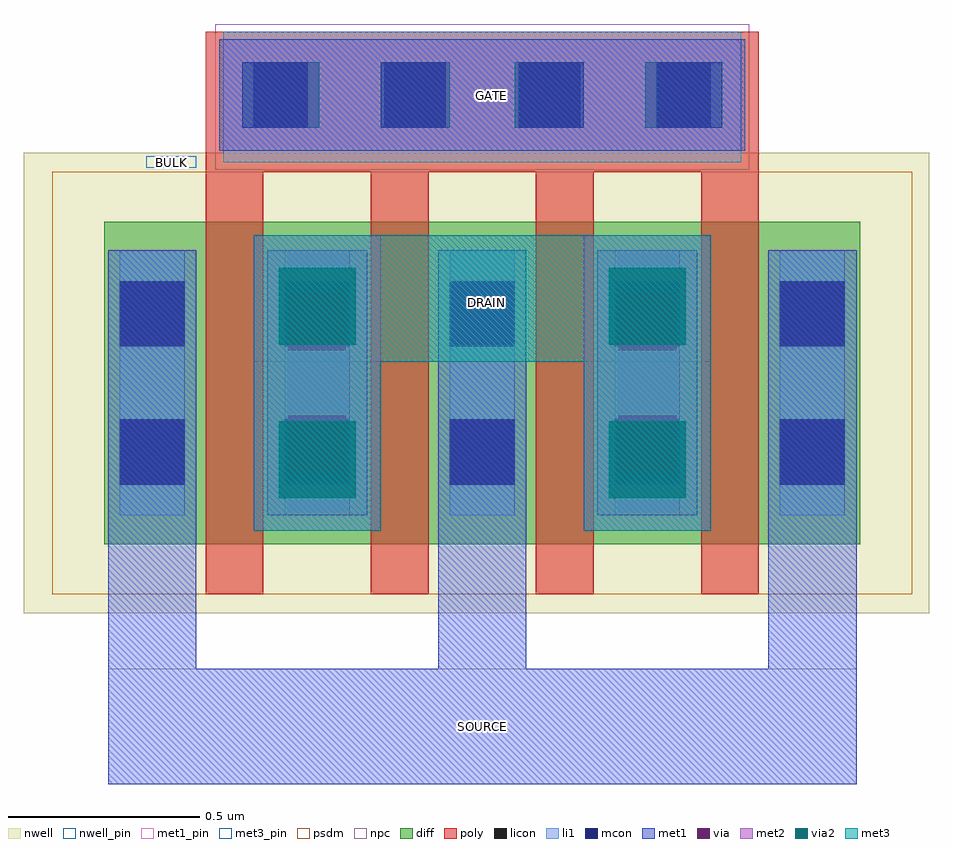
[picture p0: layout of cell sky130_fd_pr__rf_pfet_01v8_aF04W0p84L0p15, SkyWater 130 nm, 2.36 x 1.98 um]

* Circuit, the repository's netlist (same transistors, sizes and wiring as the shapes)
* Copyright 2020 The SkyWater PDK Authors
*
* Licensed under the Apache License, Version 2.0 (the "License");
* you may not use this file except in compliance with the License.
* You may obtain a copy of the License at
*
*     https://www.apache.org/licenses/LICENSE-2.0
*
* Unless required by applicable law or agreed to in writing, software
* distributed under the License is distributed on an "AS IS" BASIS,
* WITHOUT WARRANTIES OR CONDITIONS OF ANY KIND, either express or implied.
* See the License for the specific language governing permissions and
* limitations under the License.
*
* SPDX-License-Identifier: Apache-2.0


.subckt sky130_fd_pr__rf_pfet_01v8_aF04W0p84L0p15 BULK DRAIN GATE SOURCE
X0 SOURCE GATE DRAIN BULK sky130_fd_pr__pfet_01v8 w=840000u l=150000u
X1 DRAIN GATE SOURCE BULK sky130_fd_pr__pfet_01v8 w=840000u l=150000u
X2 SOURCE GATE DRAIN BULK sky130_fd_pr__pfet_01v8 w=840000u l=150000u
X3 DRAIN GATE SOURCE BULK sky130_fd_pr__pfet_01v8 w=840000u l=150000u
.ends

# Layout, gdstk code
import gdstk
lib = gdstk.Library(unit=1e-6, precision=1e-09)
def R(c, l, rs):  # rectangles x0, y0, x1, y1
    for r in rs: c.add(gdstk.rectangle(r[:2], r[2:], *l))
def A(c, l, x, y, w, h, nx, ny, dx, dy):  # array of equal rectangles
    R(c, l, [(x+i*dx, y+j*dy, x+i*dx+w, y+j*dy+h) for i in range(nx) for j in range(ny)])
nwell_pin = (64, 16)
nwell = (64, 20)
diff = (65, 20)
poly = (66, 20)
licon = (66, 44)
li1 = (67, 20)
mcon = (67, 44)
met1_pin = (68, 16)
met1 = (68, 20)
via = (68, 44)
met2 = (69, 20)
via2 = (69, 44)
met3_pin = (70, 16)
met3 = (70, 20)
psdm = (94, 20)
npc = (95, 20)

sky130_fd_pr__rf_pfet_01 = lib.new_cell('sky130_fd_pr__rf_pfet_01v8_aF04W0p84L0p15')
R(sky130_fd_pr__rf_pfet_01, nwell_pin, [(0.32,1.16,0.45,1.19)])
R(sky130_fd_pr__rf_pfet_01, nwell, [(0,0,2.36,1.2)])
A(sky130_fd_pr__rf_pfet_01, diff, 0.475, 0.18, 0.15, 0.84, 4, 1, 0.43, 0)
R(sky130_fd_pr__rf_pfet_01, diff, [(0.21,0.18,0.475,1.02), (0.24,0.18,0.475,1.02), (0.625,0.18,0.905,1.02), (1.055,0.18,1.335,1.02), (1.055,0.18,1.335,1.02), (1.085,0.18,1.335,1.02), (1.485,0.18,1.765,1.02), (1.915,0.18,2.18,1.02), (1.915,0.18,2.18,1.02), (1.945,0.18,2.18,1.02)])
A(sky130_fd_pr__rf_pfet_01, poly, 0.475, 0.05, 0.15, 0.13, 4, 2, 0.43, 0.97)
A(sky130_fd_pr__rf_pfet_01, poly, 0.475, 0.05, 0.15, 1.1, 4, 1, 0.43, 0)
R(sky130_fd_pr__rf_pfet_01, poly, [(0.475,1.15,1.915,1.515), (0.52,1.175,1.87,1.515)])
A(sky130_fd_pr__rf_pfet_01, licon, 0.25, 0.335, 0.17, 0.17, 5, 2, 0.43, 0.36)
A(sky130_fd_pr__rf_pfet_01, licon, 0.6, 1.265, 0.17, 0.17, 4, 1, 0.34, 0)
A(sky130_fd_pr__rf_pfet_01, li1, 0.25, 0.255, 0.17, 0.69, 5, 1, 0.43, 0)
R(sky130_fd_pr__rf_pfet_01, li1, [(0.52,1.175,1.87,1.515), (0.57,1.265,1.82,1.435)])
A(sky130_fd_pr__rf_pfet_01, mcon, 0.25, 0.335, 0.17, 0.17, 5, 2, 0.43, 0.36)
A(sky130_fd_pr__rf_pfet_01, mcon, 0.57, 1.265, 0.17, 0.17, 4, 1, 0.36, 0)
R(sky130_fd_pr__rf_pfet_01, met1_pin, [(0.22,-0.445,2.17,-0.145), (0.51,1.205,1.88,1.495)])
R(sky130_fd_pr__rf_pfet_01, met1, [(0.635,0.275,0.895,0.925), (1.495,0.275,1.755,0.925), (0.51,1.205,1.88,1.495)])
R(sky130_fd_pr__rf_pfet_01, via, [(0.69,0.365,0.84,0.515), (1.55,0.365,1.7,0.515), (0.69,0.685,0.84,0.835), (1.55,0.685,1.7,0.835)])
R(sky130_fd_pr__rf_pfet_01, met2, [(0.6,0.215,0.93,0.985), (1.46,0.215,1.79,0.985), (0.635,0.28,0.895,0.92), (1.495,0.28,1.755,0.92)])
R(sky130_fd_pr__rf_pfet_01, via2, [(0.665,0.3,0.865,0.5), (1.525,0.3,1.725,0.5), (0.665,0.7,0.865,0.9), (1.525,0.7,1.725,0.9)])
R(sky130_fd_pr__rf_pfet_01, met3_pin, [(0.6,0.655,1.79,0.985)])
R(sky130_fd_pr__rf_pfet_01, met3, [(0.6,0.215,0.93,0.985), (1.46,0.215,1.79,0.985)])
A(sky130_fd_pr__rf_pfet_01, psdm, 0.495, 0.05, 0.54, 1.1, 3, 1, 0.43, 0)
A(sky130_fd_pr__rf_pfet_01, psdm, 0.655, 0.05, 0.4, 1.1, 3, 1, 0.43, 0)
R(sky130_fd_pr__rf_pfet_01, psdm, [(0.075,0.05,0.605,1.15), (0.24,0.05,0.625,1.15), (1.785,0.05,2.315,1.15)])
R(sky130_fd_pr__rf_pfet_01, npc, [(0.5,1.155,1.89,1.535)])
sky130_fd_pr__rf_pfet_01.add(gdstk.FlexPath([(0.6,0.82),(1.79,0.82)], 0.33, ends="flush", simple_path=True, layer=70, datatype=20))  # met3
sky130_fd_pr__rf_pfet_01.add(gdstk.FlexPath([(2.055,0.945),(2.055,-0.445)], 0.23, ends="flush", simple_path=True, layer=68, datatype=20))  # met1
sky130_fd_pr__rf_pfet_01.add(gdstk.FlexPath([(1.195,0.945),(1.195,-0.445)], 0.23, ends="flush", simple_path=True, layer=68, datatype=20))  # met1
sky130_fd_pr__rf_pfet_01.add(gdstk.FlexPath([(0.335,0.945),(0.335,-0.445)], 0.23, ends="flush", simple_path=True, layer=68, datatype=20))  # met1
sky130_fd_pr__rf_pfet_01.add(gdstk.FlexPath([(0.22,-0.295),(2.17,-0.295)], 0.3, ends="flush", simple_path=True, layer=68, datatype=20))  # met1
sky130_fd_pr__rf_pfet_01.add(gdstk.FlexPath([(0.765,0.945),(0.765,0.255)], 0.26, ends="flush", simple_path=True, layer=68, datatype=20))  # met1
sky130_fd_pr__rf_pfet_01.add(gdstk.FlexPath([(1.625,0.945),(1.625,0.255)], 0.26, ends="flush", simple_path=True, layer=68, datatype=20))  # met1
sky130_fd_pr__rf_pfet_01.add(gdstk.Label('DRAIN', (1.205,0.81), layer=70, texttype=16))
sky130_fd_pr__rf_pfet_01.add(gdstk.Label('SOURCE', (1.195,-0.295), layer=68, texttype=16))
sky130_fd_pr__rf_pfet_01.add(gdstk.Label('GATE', (1.22,1.35), layer=68, texttype=16))
sky130_fd_pr__rf_pfet_01.add(gdstk.Label('BULK', (0.385,1.175), layer=64, texttype=5))

lib.write_gds('sky130_fd_pr__rf_pfet_01v8_aF04W0p84L0p15.gds')
